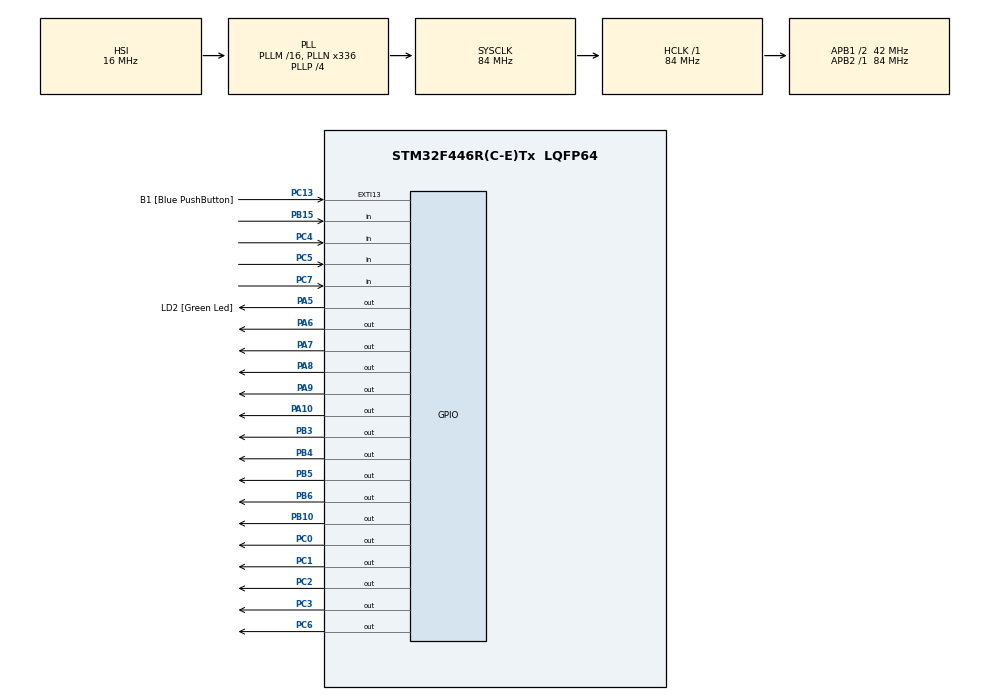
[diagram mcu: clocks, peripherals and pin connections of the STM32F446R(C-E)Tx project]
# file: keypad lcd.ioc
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Mcu.Family=STM32F4
Mcu.Name=STM32F446R(C-E)Tx
Mcu.Package=LQFP64
NVIC.PriorityGroup=NVIC_PRIORITYGROUP_0
PA10.Signal=GPIO_Output
PA13.GPIO_Label=TMS
PA13.Signal=SYS_JTMS-SWDIO
PA14.GPIO_Label=TCK
PA14.Signal=SYS_JTCK-SWCLK
PA2.GPIO_Label=USART_TX
PA2.Signal=USART2_TX
PA3.GPIO_Label=USART_RX
PA3.Signal=USART2_RX
PA5.GPIO_Label=LD2 [Green Led]
PA5.Signal=GPIO_Output
PA6.Signal=GPIO_Output
PA7.Signal=GPIO_Output
PA8.Signal=GPIO_Output
PA9.Signal=GPIO_Output
PB10.Signal=GPIO_Output
PB15.Signal=GPIO_Input
PB3.Signal=GPIO_Output
PB4.Signal=GPIO_Output
PB5.Signal=GPIO_Output
PB6.Signal=GPIO_Output
PC0.Signal=GPIO_Output
PC1.Signal=GPIO_Output
PC13.GPIO_Label=B1 [Blue PushButton]
PC13.GPIO_ModeDefaultEXTI=GPIO_MODE_IT_FALLING
PC13.Signal=GPXTI13
PC14-OSC32_IN.Signal=RCC_OSC32_IN
PC15-OSC32_OUT.Signal=RCC_OSC32_OUT
PC2.Signal=GPIO_Output
PC3.Signal=GPIO_Output
PC4.Signal=GPIO_Input
PC5.Signal=GPIO_Input
PC6.Signal=GPIO_Output
PC7.Signal=GPIO_Input
PH0-OSC_IN.Signal=RCC_OSC_IN
PH1-OSC_OUT.Signal=RCC_OSC_OUT
ProjectManager.HeapSize=0x200
ProjectManager.StackSize=0x400
ProjectManager.TargetToolchain=STM32CubeIDE
RCC.AHBFreq_Value=84000000
RCC.APB1CLKDivider=RCC_HCLK_DIV2
RCC.APB1Freq_Value=42000000
RCC.APB1TimFreq_Value=84000000
RCC.APB2Freq_Value=84000000
RCC.APB2TimFreq_Value=84000000
RCC.CortexFreq_Value=84000000
RCC.FLatency-AdvancedSettings=FLASH_LATENCY_2
RCC.HCLKFreq_Value=84000000
RCC.HSE_VALUE=8000000
RCC.HSI_VALUE=16000000
RCC.LSE_VALUE=32768
RCC.PLLN=336
RCC.PLLP=RCC_PLLP_DIV4
RCC.SYSCLKFreq_VALUE=84000000
RCC.SYSCLKSource=RCC_SYSCLKSOURCE_PLLCLK
RCC.USBFreq_Value=168000000
RCC.VCOOutputFreq_Value=336000000
board=NUCLEO-F446RE

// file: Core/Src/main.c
/* USER CODE BEGIN Header */
/**
  ******************************************************************************
  * @file           : main.c
  * @brief          : Main program body
  ******************************************************************************
  * @attention
  *
  * Copyright (c) 2024 STMicroelectronics.
  * All rights reserved.
  *
  * This software is licensed under terms that can be found in the LICENSE file
  * in the root directory of this software component.
  * If no LICENSE file comes with this software, it is provided AS-IS.
  *
  ******************************************************************************
  */
/* USER CODE END Header */
#include "main.h"
/* USER CODE BEGIN Includes */
#include<string.h>
#include<stdio.h>
#include "lcd.h"

/* USER CODE END Includes */

void SystemClock_Config(void);
static void MX_GPIO_Init(void);

int main(void)
{

  /* MCU Configuration--------------------------------------------------------*/

  /* Reset of all peripherals, Initializes the Flash interface and the Systick. */
  HAL_Init();

  /* Configure the system clock */
  SystemClock_Config();

  /* Initialize all configured peripherals */
  MX_GPIO_Init();
  /* USER CODE BEGIN 2 */
  lcd_init();
  /* USER CODE END 2 */

  /* Infinite loop */
  while (1)
  {

    /* USER CODE BEGIN 3 */
	  /* USER CODE END WHILE */
	  HAL_GPIO_WritePin(GPIOC,GPIO_PIN_0,1);
	  HAL_GPIO_WritePin(GPIOC,GPIO_PIN_1,1);
	  HAL_GPIO_WritePin(GPIOC,GPIO_PIN_2,1);
	  HAL_GPIO_WritePin(GPIOC,GPIO_PIN_3,1);
	  HAL_GPIO_WritePin(GPIOC,GPIO_PIN_0,0);
	  if(!(HAL_GPIO_ReadPin(GPIOC,GPIO_PIN_4)))
	  {
	  HAL_Delay(300);
	  lcd_cmd(0x01);
	  lcd_cmd(0xc2);
	  lcd_display("1 is pressed\n",12);
	  //printf("1 is pressed\n");
	  }
	  if(!(HAL_GPIO_ReadPin(GPIOC,GPIO_PIN_5)))
	  {
	  HAL_Delay(300);
	  lcd_cmd(0x01);
	  lcd_cmd(0xc2);
	  lcd_display("2 is pressed\n",11);
	  }
	  if(!(HAL_GPIO_ReadPin(GPIOC,GPIO_PIN_6)))
	  {
	  HAL_Delay(300);
	  lcd_cmd(0xc2);
	  lcd_display("3 is pressed\n",11);
	  }
	  if(!(HAL_GPIO_ReadPin(GPIOC,GPIO_PIN_8)))
	  {
	  HAL_Delay(300);
	  lcd_cmd(0xc2);
	  lcd_display("A is pressed\n",11);
	  }
	  HAL_GPIO_WritePin(GPIOC,GPIO_PIN_0,1);
	  HAL_GPIO_WritePin(GPIOC,GPIO_PIN_1,1);
	  HAL_GPIO_WritePin(GPIOC,GPIO_PIN_2,1);
	  HAL_GPIO_WritePin(GPIOC,GPIO_PIN_3,1);
	  HAL_GPIO_WritePin(GPIOC,GPIO_PIN_1,0);
	  if(!(HAL_GPIO_ReadPin(GPIOC,GPIO_PIN_4)))
	  {
	  HAL_Delay(300);
	  lcd_cmd(0xc2);
	  lcd_display("4 is pressed\n",11);
	  }
	  if(!(HAL_GPIO_ReadPin(GPIOC,GPIO_PIN_5)))
	  {
	  HAL_Delay(300);
	  lcd_cmd(0xc2);
	  lcd_display("5 is pressed\n",11);
	  }
	  if(!(HAL_GPIO_ReadPin(GPIOC,GPIO_PIN_6)))
	  {
	  HAL_Delay(300);
	  lcd_cmd(0xc2);
	  lcd_display("6 is pressed\n",11);
	  }
	  if(!(HAL_GPIO_ReadPin(GPIOC,GPIO_PIN_8)))
	  {
	  HAL_Delay(300);
	  lcd_cmd(0xc2);
	  lcd_display("B is pressed\n",11);
	  }
	  HAL_GPIO_WritePin(GPIOC,GPIO_PIN_0,1);
	  HAL_GPIO_WritePin(GPIOC,GPIO_PIN_1,1);
	  HAL_GPIO_WritePin(GPIOC,GPIO_PIN_2,1);
	  HAL_GPIO_WritePin(GPIOC,GPIO_PIN_3,1);
	  HAL_GPIO_WritePin(GPIOC,GPIO_PIN_2,0);
	  if(!(HAL_GPIO_ReadPin(GPIOC,GPIO_PIN_4)))
	  {
	  HAL_Delay(300);
	  lcd_cmd(0xc2);
	  lcd_display("7 is pressed\n",11);
	  }
	  if(!(HAL_GPIO_ReadPin(GPIOC,GPIO_PIN_5)))
	  {
	  HAL_Delay(300);
	  lcd_cmd(0xc2);
	  lcd_display("8 is pressed\n",11);
	  }
	  if(!(HAL_GPIO_ReadPin(GPIOC,GPIO_PIN_6)))
	  {
	  HAL_Delay(300);
	  lcd_cmd(0xc2);
	  lcd_display("9 is pressed\n",11);
	  }
	  if(!(HAL_GPIO_ReadPin(GPIOC,GPIO_PIN_8)))
	  {
	  HAL_Delay(300);
	  lcd_cmd(0xc2);
	  lcd_display("C is pressed\n",11);
	  }
	  HAL_GPIO_WritePin(GPIOC,GPIO_PIN_0,1);
	  HAL_GPIO_WritePin(GPIOC,GPIO_PIN_1,1);
	  HAL_GPIO_WritePin(GPIOC,GPIO_PIN_2,1);
	  HAL_GPIO_WritePin(GPIOC,GPIO_PIN_3,1);
	  HAL_GPIO_WritePin(GPIOC,GPIO_PIN_3,0);
	  if(!(HAL_GPIO_ReadPin(GPIOC,GPIO_PIN_4)))
	  {
	  HAL_Delay(300);
	  lcd_cmd(0xc2);
	  lcd_display("* is pressed\n",11);
	  }
	  if(!(HAL_GPIO_ReadPin(GPIOC,GPIO_PIN_5)))
	  {
	  HAL_Delay(300);
	  lcd_cmd(0xc2);
	  lcd_display("0 is pressed\n",11);
	  }
	  if(!(HAL_GPIO_ReadPin(GPIOC,GPIO_PIN_6)))
	  {
	  HAL_Delay(300);
	  lcd_cmd(0xc2);
	  lcd_display("# is pressed\n",11);
	  }
	  if(!(HAL_GPIO_ReadPin(GPIOC,GPIO_PIN_8)))
	  {
	  HAL_Delay(300);
	  lcd_cmd(0xc2);
	  lcd_display("D is pressed\n",11);
	  }
   }
  /* USER CODE END 3 */
}

void SystemClock_Config(void)
{
  RCC_OscInitTypeDef RCC_OscInitStruct = {0};
  RCC_ClkInitTypeDef RCC_ClkInitStruct = {0};

  /** Configure the main internal regulator output voltage
  */
  __HAL_RCC_PWR_CLK_ENABLE();
  __HAL_PWR_VOLTAGESCALING_CONFIG(PWR_REGULATOR_VOLTAGE_SCALE3);

  /** Initializes the RCC Oscillators according to the specified parameters
  * in the RCC_OscInitTypeDef structure.
  */
  RCC_OscInitStruct.OscillatorType = RCC_OSCILLATORTYPE_HSI;
  RCC_OscInitStruct.HSIState = RCC_HSI_ON;
  RCC_OscInitStruct.HSICalibrationValue = RCC_HSICALIBRATION_DEFAULT;
  RCC_OscInitStruct.PLL.PLLState = RCC_PLL_ON;
  RCC_OscInitStruct.PLL.PLLSource = RCC_PLLSOURCE_HSI;
  RCC_OscInitStruct.PLL.PLLM = 16;
  RCC_OscInitStruct.PLL.PLLN = 336;
  RCC_OscInitStruct.PLL.PLLP = RCC_PLLP_DIV4;
  RCC_OscInitStruct.PLL.PLLQ = 2;
  RCC_OscInitStruct.PLL.PLLR = 2;
  if (HAL_RCC_OscConfig(&RCC_OscInitStruct) != HAL_OK)
  {
    Error_Handler();
  }

  /** Initializes the CPU, AHB and APB buses clocks
  */
  RCC_ClkInitStruct.ClockType = RCC_CLOCKTYPE_HCLK|RCC_CLOCKTYPE_SYSCLK
                              |RCC_CLOCKTYPE_PCLK1|RCC_CLOCKTYPE_PCLK2;
  RCC_ClkInitStruct.SYSCLKSource = RCC_SYSCLKSOURCE_PLLCLK;
  RCC_ClkInitStruct.AHBCLKDivider = RCC_SYSCLK_DIV1;
  RCC_ClkInitStruct.APB1CLKDivider = RCC_HCLK_DIV2;
  RCC_ClkInitStruct.APB2CLKDivider = RCC_HCLK_DIV1;

  if (HAL_RCC_ClockConfig(&RCC_ClkInitStruct, FLASH_LATENCY_2) != HAL_OK)
  {
    Error_Handler();
  }
}

static void MX_GPIO_Init(void)
{
  GPIO_InitTypeDef GPIO_InitStruct = {0};

  /* GPIO Ports Clock Enable */
  __HAL_RCC_GPIOC_CLK_ENABLE();
  __HAL_RCC_GPIOH_CLK_ENABLE();
  __HAL_RCC_GPIOA_CLK_ENABLE();
  __HAL_RCC_GPIOB_CLK_ENABLE();

  /*Configure GPIO pin Output Level */
  HAL_GPIO_WritePin(GPIOC, GPIO_PIN_0|GPIO_PIN_1|GPIO_PIN_2|GPIO_PIN_3
                          |GPIO_PIN_6, GPIO_PIN_RESET);

  /*Configure GPIO pin Output Level */
  HAL_GPIO_WritePin(GPIOA, LD2_Pin|GPIO_PIN_6|GPIO_PIN_7|GPIO_PIN_8
                          |GPIO_PIN_9|GPIO_PIN_10, GPIO_PIN_RESET);

  /*Configure GPIO pin Output Level */
  HAL_GPIO_WritePin(GPIOB, GPIO_PIN_10|GPIO_PIN_3|GPIO_PIN_4|GPIO_PIN_5
                          |GPIO_PIN_6, GPIO_PIN_RESET);

  /*Configure GPIO pin : B1_Pin */
  GPIO_InitStruct.Pin = B1_Pin;
  GPIO_InitStruct.Mode = GPIO_MODE_IT_FALLING;
  GPIO_InitStruct.Pull = GPIO_NOPULL;
  HAL_GPIO_Init(B1_GPIO_Port, &GPIO_InitStruct);

  /*Configure GPIO pins : PC0 PC1 PC2 PC3
                           PC6 */
  GPIO_InitStruct.Pin = GPIO_PIN_0|GPIO_PIN_1|GPIO_PIN_2|GPIO_PIN_3
                          |GPIO_PIN_6;
  GPIO_InitStruct.Mode = GPIO_MODE_OUTPUT_PP;
  GPIO_InitStruct.Pull = GPIO_NOPULL;
  GPIO_InitStruct.Speed = GPIO_SPEED_FREQ_LOW;
  HAL_GPIO_Init(GPIOC, &GPIO_InitStruct);

  /*Configure GPIO pins : USART_TX_Pin USART_RX_Pin */
  GPIO_InitStruct.Pin = USART_TX_Pin|USART_RX_Pin;
  GPIO_InitStruct.Mode = GPIO_MODE_AF_PP;
  GPIO_InitStruct.Pull = GPIO_NOPULL;
  GPIO_InitStruct.Speed = GPIO_SPEED_FREQ_VERY_HIGH;
  GPIO_InitStruct.Alternate = GPIO_AF7_USART2;
  HAL_GPIO_Init(GPIOA, &GPIO_InitStruct);

  /*Configure GPIO pins : LD2_Pin PA6 PA7 PA8
                           PA9 PA10 */
  GPIO_InitStruct.Pin = LD2_Pin|GPIO_PIN_6|GPIO_PIN_7|GPIO_PIN_8
                          |GPIO_PIN_9|GPIO_PIN_10;
  GPIO_InitStruct.Mode = GPIO_MODE_OUTPUT_PP;
  GPIO_InitStruct.Pull = GPIO_NOPULL;
  GPIO_InitStruct.Speed = GPIO_SPEED_FREQ_LOW;
  HAL_GPIO_Init(GPIOA, &GPIO_InitStruct);

  /*Configure GPIO pins : PC4 PC5 PC7 */
  GPIO_InitStruct.Pin = GPIO_PIN_4|GPIO_PIN_5|GPIO_PIN_7;
  GPIO_InitStruct.Mode = GPIO_MODE_INPUT;
  GPIO_InitStruct.Pull = GPIO_NOPULL;
  HAL_GPIO_Init(GPIOC, &GPIO_InitStruct);

  /*Configure GPIO pins : PB10 PB3 PB4 PB5
                           PB6 */
  GPIO_InitStruct.Pin = GPIO_PIN_10|GPIO_PIN_3|GPIO_PIN_4|GPIO_PIN_5
                          |GPIO_PIN_6;
  GPIO_InitStruct.Mode = GPIO_MODE_OUTPUT_PP;
  GPIO_InitStruct.Pull = GPIO_NOPULL;
  GPIO_InitStruct.Speed = GPIO_SPEED_FREQ_LOW;
  HAL_GPIO_Init(GPIOB, &GPIO_InitStruct);

  /*Configure GPIO pin : PB15 */
  GPIO_InitStruct.Pin = GPIO_PIN_15;
  GPIO_InitStruct.Mode = GPIO_MODE_INPUT;
  GPIO_InitStruct.Pull = GPIO_NOPULL;
  HAL_GPIO_Init(GPIOB, &GPIO_InitStruct);

}

void Error_Handler(void)
{
  __disable_irq();
  while (1)
  {
  }
}
